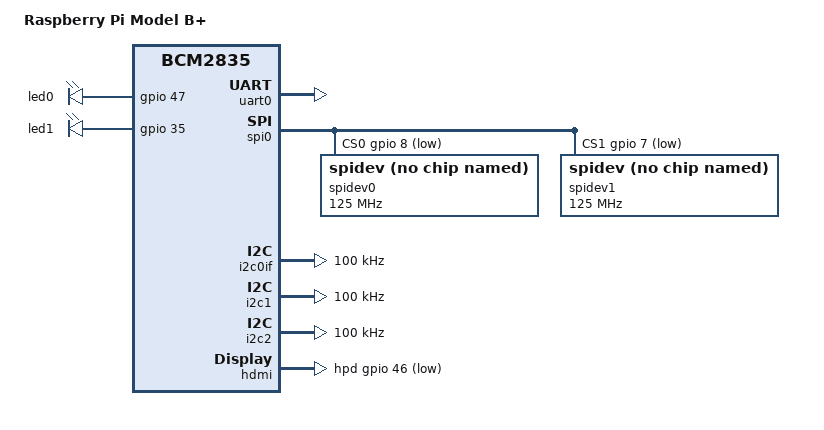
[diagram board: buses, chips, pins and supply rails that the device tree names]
/dts-v1/;

#include "bcm2708.dtsi"
#include "bcm2708-rpi.dtsi"
#include "bcm283x-rpi-smsc9514.dtsi"
#include "bcm283x-rpi-csi1-2lane.dtsi"
#include "bcm283x-rpi-i2c0mux_0_28.dtsi"

/ {
	compatible = "raspberrypi,model-b-plus", "brcm,bcm2835";
	model = "Raspberry Pi Model B+";
};

&gpio {
	/*
	 * Taken from Raspberry-Pi-B-Plus-V1.2-Schematics.pdf
	 * RPI-BPLUS sheet 1
	 *
	 * Legend:
	 * "NC" = not connected (no rail from the SoC)
	 * "FOO" = GPIO line named "FOO" on the schematic
	 * "FOO_N" = GPIO line named "FOO" on schematic, active low
	 */
	gpio-line-names = "ID_SDA",
			  "ID_SCL",
			  "SDA1",
			  "SCL1",
			  "GPIO_GCLK",
			  "GPIO5",
			  "GPIO6",
			  "SPI_CE1_N",
			  "SPI_CE0_N",
			  "SPI_MISO",
			  "SPI_MOSI",
			  "SPI_SCLK",
			  "GPIO12",
			  "GPIO13",
			  /* Serial port */
			  "TXD0",
			  "RXD0",
			  "GPIO16",
			  "GPIO17",
			  "GPIO18",
			  "GPIO19",
			  "GPIO20",
			  "GPIO21",
			  "GPIO22",
			  "GPIO23",
			  "GPIO24",
			  "GPIO25",
			  "GPIO26",
			  "GPIO27",
			  "SDA0",
			  "SCL0",
			  "NC", /* GPIO30 */
			  "LAN_RUN", /* GPIO31 */
			  "CAM_GPIO1", /* GPIO32 */
			  "NC", /* GPIO33 */
			  "NC", /* GPIO34 */
			  "PWR_LOW_N", /* GPIO35 */
			  "NC", /* GPIO36 */
			  "NC", /* GPIO37 */
			  "USB_LIMIT", /* GPIO38 */
			  "NC", /* GPIO39 */
			  "PWM0_OUT", /* GPIO40 */
			  "CAM_GPIO0", /* GPIO41 */
			  "NC", /* GPIO42 */
			  "NC", /* GPIO43 */
			  "ETH_CLK", /* GPIO44 */
			  "PWM1_OUT", /* GPIO45 */
			  "HDMI_HPD_N",
			  "STATUS_LED",
			  /* Used by SD Card */
			  "SD_CLK_R",
			  "SD_CMD_R",
			  "SD_DATA0_R",
			  "SD_DATA1_R",
			  "SD_DATA2_R",
			  "SD_DATA3_R";

	spi0_pins: spi0_pins {
		brcm,pins = <9 10 11>;
		brcm,function = <4>; /* alt0 */
	};

	spi0_cs_pins: spi0_cs_pins {
		brcm,pins = <8 7>;
		brcm,function = <1>; /* output */
	};

	i2c0_pins: i2c0 {
		brcm,pins = <0 1>;
		brcm,function = <4>;
	};

	i2c1_pins: i2c1 {
		brcm,pins = <2 3>;
		brcm,function = <4>;
	};

	i2s_pins: i2s {
		brcm,pins = <18 19 20 21>;
		brcm,function = <4>; /* alt0 */
	};

	audio_pins: audio_pins {
		brcm,pins = <40 45>;
		brcm,function = <4>;
		brcm,pull = <0>;
	};
};

&uart0 {
	status = "okay";
};

&spi0 {
	pinctrl-names = "default";
	pinctrl-0 = <&spi0_pins &spi0_cs_pins>;
	cs-gpios = <&gpio 8 1>, <&gpio 7 1>;

	spidev0: spidev@0{
		compatible = "spidev";
		reg = <0>;	/* CE0 */
		#address-cells = <1>;
		#size-cells = <0>;
		spi-max-frequency = <125000000>;
	};

	spidev1: spidev@1{
		compatible = "spidev";
		reg = <1>;	/* CE1 */
		#address-cells = <1>;
		#size-cells = <0>;
		spi-max-frequency = <125000000>;
	};
};

&i2c0if {
	clock-frequency = <100000>;
};

&i2c1 {
	pinctrl-names = "default";
	pinctrl-0 = <&i2c1_pins>;
	clock-frequency = <100000>;
};

&i2c2 {
	clock-frequency = <100000>;
};

&i2s {
	pinctrl-names = "default";
	pinctrl-0 = <&i2s_pins>;
};

&leds {
	act_led: led-act {
		label = "led0";
		linux,default-trigger = "mmc0";
		gpios = <&gpio 47 0>;
	};

	pwr_led: led-pwr {
		label = "led1";
		linux,default-trigger = "input";
		gpios = <&gpio 35 0>;
	};
};

&hdmi {
	hpd-gpios = <&gpio 46 GPIO_ACTIVE_LOW>;
};

&vchiq {
	pinctrl-names = "default";
	pinctrl-0 = <&audio_pins>;
};

&cam1_reg {
	gpio = <&gpio 41 GPIO_ACTIVE_HIGH>;
};

cam0_reg: &cam_dummy_reg {
};

/ {
	__overrides__ {
		audio = <&chosen>,"bootargs{on='snd_bcm2835.enable_headphones=1 snd_bcm2835.enable_hdmi=1',off='snd_bcm2835.enable_headphones=0 snd_bcm2835.enable_hdmi=0'}";

		act_led_gpio = <&act_led>,"gpios:4";
		act_led_activelow = <&act_led>,"gpios:8";
		act_led_trigger = <&act_led>,"linux,default-trigger";

		pwr_led_gpio = <&pwr_led>,"gpios:4";
		pwr_led_activelow = <&pwr_led>,"gpios:8";
		pwr_led_trigger = <&pwr_led>,"linux,default-trigger";
	};
};
